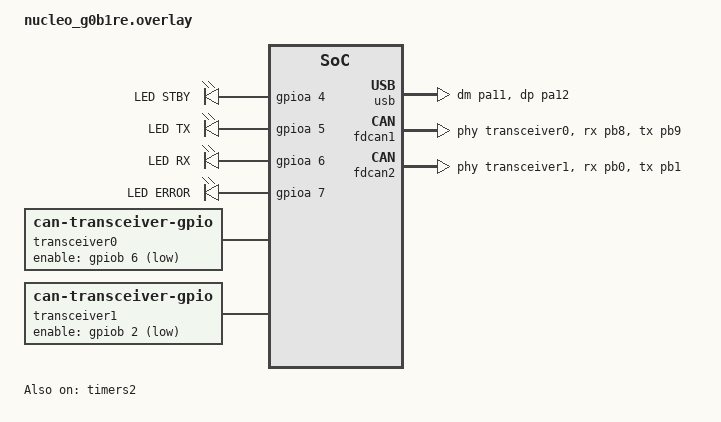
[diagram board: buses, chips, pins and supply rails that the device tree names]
#include <zephyr/dt-bindings/gpio/gpio.h>
#include "../app.overlay"

/ {
	chosen {
		zephyr,sram = &sram0;
		zephyr,flash = &flash0;
		zephyr,code-partition = &slot0_partition;
		zephyr,canbus = &fdcan1;
	};

	aliases {
		led0 = &led_rx;
		led1 = &led_tx;
	};

	leds {
		compatible = "gpio-leds";

		standby_led: white_led {
			gpios = <&gpioa 4 GPIO_ACTIVE_HIGH>;
			label = "LED STBY";
		};

		led_tx: orange_led {
			gpios = <&gpioa 5 GPIO_ACTIVE_HIGH>;
			label = "LED TX";
		};

		led_rx: green_led {
			gpios = <&gpioa 6 GPIO_ACTIVE_HIGH>;
			label = "LED RX";
		};

		error_led: red_led {
			gpios = <&gpioa 7 GPIO_ACTIVE_HIGH>;
			label = "LED ERROR";
		};
	};

	transceiver0: can-phy0 {
		compatible = "can-transceiver-gpio";
		enable-gpios = <&gpiob 6 GPIO_ACTIVE_LOW>;
		max-bitrate = <5000000>;
		#phy-cells = <0>;
	};

	transceiver1: can-phy1 {
		compatible = "can-transceiver-gpio";
		enable-gpios = <&gpiob 2 GPIO_ACTIVE_LOW>;
		max-bitrate = <5000000>;
		#phy-cells = <0>;
	};

	cannectivity: cannectivity {
		compatible = "cannectivity";
		timestamp-counter = <&counter2>;

		channel0 {
			compatible = "cannectivity-channel";
			termination-gpios = <&gpiob 4 GPIO_ACTIVE_HIGH>;
			can-controller = <&fdcan1>;
			state-led = <&standby_led>;
			error-led = <&error_led>;
			activity-leds = <&led_rx &led_tx>;
		};

		/* channel1 { */
		/* 	compatible = "cannectivity-channel"; */
		/* 	can-controller = <&fdcan2>; */
		/* 	state-led = <&led_tx>; */
		/* }; */
	};
};

/ {
};

/* &clk_hse { */
/* 	status = "okay"; */
/* 	clock-frequency = <DT_FREQ_M(8)>; */
/* }; */
/**/
/* &clk_hsi48 { */
/* 	status = "okay"; */
/* 	crs-usb-sof; */
/* }; */

/* &pll { */
/* 	div-m = <1>; */
/* 	mul-n = <30>; */
/* 	div-p = <2>; */
/* 	div-q = <3>; */
/* 	div-r = <4>; */
/* 	clocks = <&clk_hse>; */
/* 	status = "okay"; */
/* }; */
/**/
/* &rcc { */
/* 	clocks = <&pll>; */
/* 	clock-frequency = <DT_FREQ_M(60)>; */
/* 	ahb-prescaler = <1>; */
/* 	apb1-prescaler = <1>; */
/* }; */

zephyr_udc0: &usb {
	pinctrl-0 = <&usb_dm_pa11 &usb_dp_pa12>;
	pinctrl-names = "default";
	status = "okay";
};

&i2c1 {
	/* Default pinctrl conflicts with fdcan1 */
	status = "disabled";
};

&fdcan1 {
	clocks = <&rcc STM32_CLOCK(APB1, 12)>,
		 <&rcc STM32_SRC_PLL_Q FDCAN_SEL(1)>;
	pinctrl-0 = <&fdcan1_rx_pb8 &fdcan1_tx_pb9>;
	pinctrl-names = "default";
	phys = <&transceiver0>;
	status = "okay";
};

&fdcan2 {
	clocks = <&rcc STM32_CLOCK(APB1, 12)>,
		 <&rcc STM32_SRC_PLL_Q FDCAN_SEL(1)>;
	pinctrl-0 = <&fdcan2_rx_pb0 &fdcan2_tx_pb1>;
	pinctrl-names = "default";
	phys = <&transceiver1>;
	status = "okay";
};

&timers2 {
	status = "okay";
	st,prescaler = <59>;

	counter2: counter2 {
		compatible = "st,stm32-counter";
		status = "okay";
	};
};
